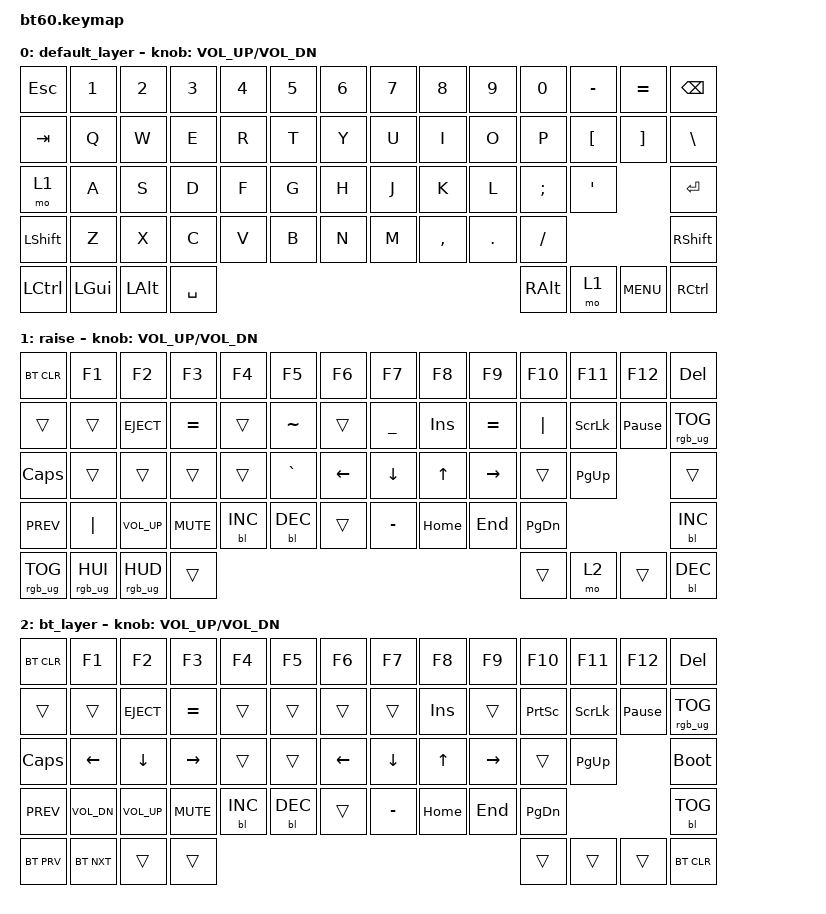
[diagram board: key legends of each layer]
#include <behaviors.dtsi>
#include <dt-bindings/zmk/keys.h>
#include <dt-bindings/zmk/bt.h>
#include <dt-bindings/zmk/rgb.h>
#include <dt-bindings/zmk/backlight.h>

/ {
	keymap {
		compatible = "zmk,keymap";

		default_layer {
			        // ---------------------------------------------------------------------------------------------------------------------
			        // | ESC    |  1    |  2    |  3  |   4  |  5   |  6  |  7   |   8      |    9  |   0    |   -  |     =     |    BKSP  |
				// | TAB    |  Q    |  W    |  E  |   R  |  T   |  Y  |  U   |   I      |    O  |   P    |   [  |     ]     |    \     |
				// | LVL 1  |  A    |  S    |  D  |   F  |  G   |  H  |  J   |   K      |    L  |   ;    |   '              |    ENTER |
				// |  SHIFT |  Z    |  X    |  C  |   V  |  B   |  N  |  M   |   ,      |    .  |   /                       |    SHIFT |
				// |  CTL   |  WIN  |  ALT  |              SPACE                             | ALT | LVL 1  |  MENU         |    CTRL  |
				// ---------------------------------------------------------------------------------------------------------------------
			bindings = <

				&kp ESC   &kp N1    &kp N2 &kp N3 &kp N4 &kp N5 &kp N6 &kp N7 &kp N8    &kp  N9 &kp N0   &kp MINUS &kp EQUAL &kp BSPC
				&kp TAB   &kp Q     &kp W  &kp E  &kp R  &kp T  &kp Y  &kp U  &kp I     &kp  O  &kp P    &kp LBKT  &kp RBKT  &kp BSLH
				&mo 1     &kp A     &kp S  &kp D  &kp F  &kp G  &kp H  &kp J  &kp K     &kp  L  &kp SEMI &kp SQT             &kp RET
				&kp LSHFT &kp Z     &kp X  &kp C  &kp V  &kp B  &kp N  &kp M  &kp COMMA &kp DOT &kp FSLH                     &kp RSHFT
				&kp LCTRL &kp LGUI  &kp LALT            &kp SPACE                          &kp RALT  &mo 1 &kp C_MENU        &kp RCTRL
			>;
			sensor-bindings = <&inc_dec_kp C_VOL_UP C_VOL_DN>;
		};
		raise {
				// ----------------------------------------------------------------------------------------------------------------------------------------------------------------------------
				// |  BT_CLR    |   F1          |  F2        |   F3    |    F4     |   F5     |   F6   |   F7         |  F8    |  F9     |  F10    |  F11   |  F12           |       DEL      |
				// |            |               |  EJECT     |   = (E) |           |   ~ (T)  |   = (E)|   _ (U)      |  INS   |         |  PIPE   |  SLCK  |  PAUSE_BREAK | |       RGB_TOG  |
				// | CAPS       |               |            |         |           |   ` (G)  |   LEFT |   DOWN       |  UP    |  RIGHT  |         |  PG_UP |                                 |
				// |  C_PREV    |  PIPE         |  C_VOL_UP  |  MUTE   |    BL_INC |   BL_DEC |   N    |   - (M)      |  HOME  |  END    | PG_DN   |                                 BL_INC   |
				// |  RGB_TOG   |  RGB_HUI      |  ALT       |            SPACE               | ALT | LVL 2  |  &trans |                                                              BL_DEC   |
                                // ----------------------------------------------------------------------------------------------------------------------------------------------------------------------------
			bindings = <
				&bt BT_CLR      &kp F1          &kp F2       &kp F3     &kp F4     &kp F5     &kp F6   &kp F7         &kp F8   &kp F9     &kp F10   &kp F11   &kp F12         &kp DEL
				&trans          &trans          &kp C_EJECT  &kp EQUAL  &trans     &kp TILDE  &trans   &kp UNDERSCORE &kp INS  &kp EQUAL &kp PIPE  &kp SLCK  &kp PAUSE_BREAK &rgb_ug RGB_TOG
				&kp CAPS        &trans          &trans       &trans     &trans     &kp GRAVE  &kp LEFT &kp DOWN       &kp UP   &kp RIGHT  &trans    &kp PG_UP                 &trans
				&kp C_PREV      &kp PIPE        &kp C_VOL_UP &kp C_MUTE &bl BL_INC &bl BL_DEC &trans   &kp MINUS      &kp HOME &kp END    &kp PG_DN                           &bl BL_INC
				&rgb_ug RGB_TOG &rgb_ug RGB_HUI &rgb_ug RGB_HUD          &trans                            &trans   &mo 2   &trans                                           &bl BL_DEC
			>;
			sensor-bindings = <&inc_dec_kp C_VOL_UP C_VOL_DN>;
		};
		bt_layer {
			bindings = <
				&bt BT_CLR &kp F1 &kp F2 &kp F3 &kp F4 &kp F5 &kp F6 &kp F7 &kp F8 &kp F9 &kp F10 &kp F11 &kp F12 &kp DEL
				&trans &trans &kp C_EJECT &kp EQUAL &trans &trans &trans &trans &kp INS &trans &kp PSCRN &kp SLCK &kp PAUSE_BREAK &rgb_ug RGB_TOG
				&kp CAPS    &kp LEFT &kp DOWN &kp RIGHT &trans &trans &kp LEFT &kp DOWN &kp UP &kp RIGHT &trans  &kp PG_UP   &bootloader
				&kp C_PREV &kp C_VOL_DN &kp C_VOL_UP &kp C_MUTE &bl BL_INC &bl BL_DEC &trans &kp MINUS &kp HOME &kp END &kp PG_DN  &bl BL_TOG
				&bt BT_PRV &bt BT_NXT  &trans              &trans                            &trans   &trans   &trans &bt BT_CLR
			>;
			sensor-bindings = <&inc_dec_kp C_VOL_UP C_VOL_DN>;
		};		
	};
};
